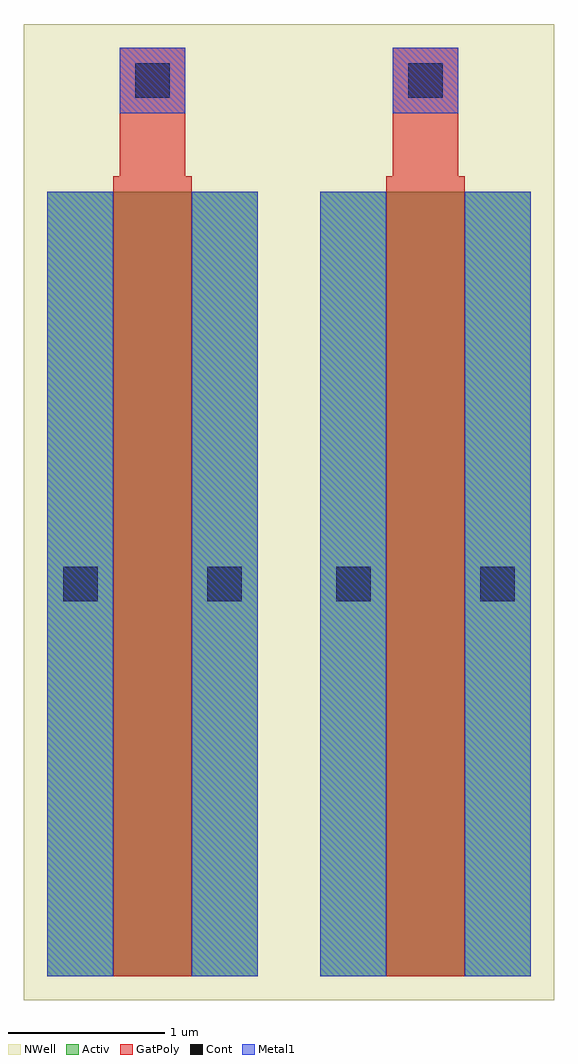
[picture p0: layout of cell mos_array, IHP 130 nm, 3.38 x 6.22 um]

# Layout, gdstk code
import gdstk
lib = gdstk.Library(unit=1e-6, precision=1e-09)
def R(c, l, rs):  # rectangles x0, y0, x1, y1
    for r in rs: c.add(gdstk.rectangle(r[:2], r[2:], *l))
Activ = (1, 0)
GatPoly = (5, 0)
Cont = (6, 0)
Metal1 = (8, 0)
NWell = (31, 0)

mos_array = lib.new_cell('mos_array')
R(mos_array, Activ, [(0,0,1.34,5), (1.74,0,3.08,5)])
R(mos_array, GatPoly, [(0.42,0,0.92,5), (2.16,0,2.66,5), (0.42,5,0.92,5.1), (2.16,5,2.66,5.1), (0.46,5.1,0.88,5.92), (2.2,5.1,2.62,5.92)])
R(mos_array, Cont, [(0.1,2.39,0.32,2.61), (1.02,2.39,1.24,2.61), (1.84,2.39,2.06,2.61), (2.76,2.39,2.98,2.61), (0.56,5.6,0.78,5.82), (2.3,5.6,2.52,5.82)])
R(mos_array, Metal1, [(0,0,0.42,5), (0.92,0,1.34,5), (1.74,0,2.16,5), (2.66,0,3.08,5), (0.46,5.5,0.88,5.92), (2.2,5.5,2.62,5.92)])
R(mos_array, NWell, [(-0.15,-0.15,3.23,6.07)])

lib.write_gds('mos_array.gds')
